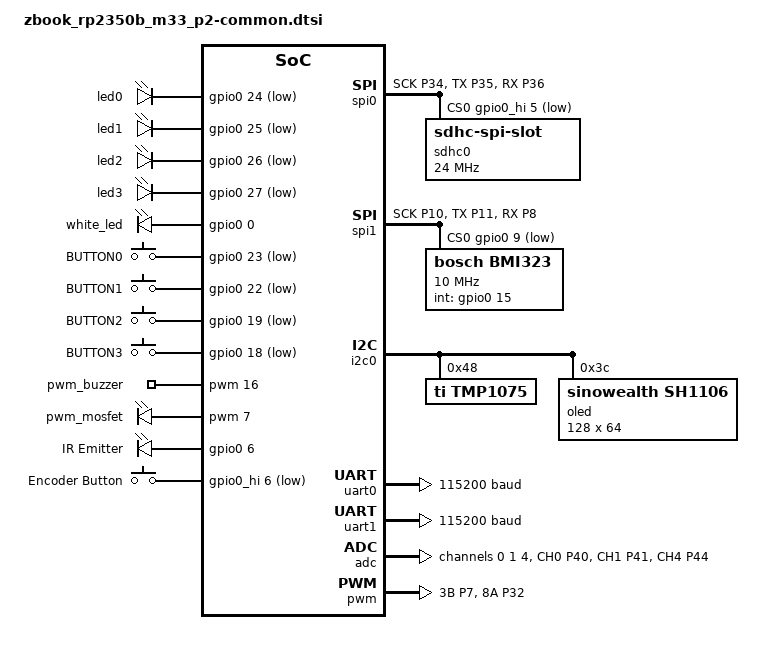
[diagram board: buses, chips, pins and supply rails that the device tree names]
/**
 * @file zbook_rp2350b_m33_p2-common.dtsi
 * @brief Hardware description for the Zbook P2 revision. Applied as a board
 *        revision overlay on top of zbook_rp2350b_m33-common.dtsi (the P1 /
 *        default revision): P2 re-pins almost every peripheral and adds new
 *        ones, so this file deletes the P1 nodes that no longer apply and
 *        redefines them with the pin assignments from the P2 schematic
 *        (zbook-p2-schematics.pdf, revision P2, released 2026-04-22).
 *
 *        Not modelled here: the onboard RP2040 (U3), which acts purely as a
 *        debug probe (SWD + UART bridge) for the RP2350B on the "Prog USB-C"
 *        port, the same way a Pico's separate debug probe would. It is not a
 *        Zephyr build target for this board.
 *
 * @copyright Copyright (c) Centro de Inovação EDGE
 */

#include <zephyr/dt-bindings/led/led.h>
#include <zephyr/dt-bindings/pwm/pwm.h>
#include <zephyr/dt-bindings/pinctrl/rpi-pico-rp2350b-pinctrl.h>
#include <zephyr/dt-bindings/input/input-event-codes.h>

/* P1 peripherals that were re-pinned, replaced, or removed on P2. */
/delete-node/ &blue_led;
/delete-node/ &green_led;
/delete-node/ &yellow_led;
/delete-node/ &red_led;
/delete-node/ &button1;
/delete-node/ &button2;
/delete-node/ &button3;
/delete-node/ &button4;
/delete-node/ &microphone;
/delete-node/ &pico_header;
/delete-node/ &pwm_buzzer;
/delete-node/ &pwm_mosfet;
/delete-node/ &spibb0;
/delete-node/ &pio_ws2812;
/delete-node/ &ir_emitter;
/delete-node/ &int1;
/delete-node/ &int2;
/delete-node/ &display_reset;
/delete-node/ &display_en;
/delete-node/ &ir_receiver;

/* Pin groups that moved. i2c0 (P4/P5) and uart1 (P20/P21) keep P1's pins:
 * uart1 now feeds the onboard Wi-Fi header (H2) instead of the zbook_wifi
 * shield connector, see boards/shields/zbook_wifi/boards/ for the P2
 * reset/enable gpio override.
 */
&pinctrl {
	spi0_default: spi0_default {
		group1 {
			pinmux = <SPI0_SCK_P34>, <SPI0_TX_P35>;
		};
		group2 {
			pinmux = <SPI0_RX_P36>;
			input-enable;
		};
	};

	spi1_default: spi1_default {
		group1 {
			pinmux = <SPI1_SCK_P10>, <SPI1_TX_P11>;
		};
		group2 {
			pinmux = <SPI1_RX_P8>;
			input-enable;
		};
	};

	adc_default: adc_default {
		group1 {
			pinmux = <ADC_CH0_P40>, <ADC_CH1_P41>, <ADC_CH4_P44>;
			input-enable;
		};
	};

	pwm_default: pwm_default {
		group1 {
			pinmux = <PWM_3B_P7>, <PWM_8A_P32>;
		};
	};

	pio1_ws2812_default: pio1_ws2812_default {
		group1 {
			pinmux = <PIO1_P31>;
		};
	};
};

/ {
	aliases {
		led0 = &led0;
		led1 = &led1;
		led2 = &led2;
		led3 = &led3;
		led4 = &white_led;
		button0 = &button0;
		button1 = &button1;
		button2 = &button2;
		button3 = &button3;
		led-strip = &ws2812;
		pwm-buzzer = &pwm_buzzer;
		pwm-mosfet = &pwm_mosfet;

		/* P2-only peripherals. No P1 counterpart, so these aliases
		 * exist purely to keep application code off raw node labels.
		 */
		hall-sensor = &mag_sense;
		temp-alert = &temp_alert;
		accel-int2 = &int2;
		enc-button = &enc_button;
		motor-pwm = &pwm_mosfet;
		led-white = &white_led;
	};

	chosen {
		zephyr,display = &oled;
	};

	/* Direct resistor-to-+3V3 LEDs (no driver transistor): the GPIO sinks
	 * current, so these are active-low, same as P1's LEDs.
	 */
	leds {
		compatible = "gpio-leds";

		led0: led0 {
			gpios = <&gpio0 24 GPIO_ACTIVE_LOW>;
		};

		led1: led1 {
			gpios = <&gpio0 25 GPIO_ACTIVE_LOW>;
		};

		led2: led2 {
			gpios = <&gpio0 26 GPIO_ACTIVE_LOW>;
		};

		led3: led3 {
			gpios = <&gpio0 27 GPIO_ACTIVE_LOW>;
		};

		/* Driven through Q6 (FDN327N) low-side N-MOSFET: active-high. */
		white_led: white {
			gpios = <&gpio0 0 GPIO_ACTIVE_HIGH>;
		};
	};

	buttons {
		compatible = "gpio-keys";

		button0: button0 {
			zephyr,code = <INPUT_BTN_0>;
			label = "BUTTON0";
			gpios = <&gpio0 23 GPIO_ACTIVE_LOW>;
		};

		button1: button1 {
			zephyr,code = <INPUT_BTN_1>;
			label = "BUTTON1";
			gpios = <&gpio0 22 GPIO_ACTIVE_LOW>;
		};

		button2: button2 {
			zephyr,code = <INPUT_BTN_2>;
			label = "BUTTON2";
			gpios = <&gpio0 19 GPIO_ACTIVE_LOW>;
		};

		button3: button3 {
			zephyr,code = <INPUT_BTN_3>;
			label = "BUTTON3";
			gpios = <&gpio0 18 GPIO_ACTIVE_LOW>;
		};
	};

	/* BUZZER_GPIO (piezo, Q7) and MOTOR_EN (DC motor, Q9) are both driven
	 * through low-side N-MOSFETs onto PWM-capable pins.
	 */
	pwm_outputs {
		compatible = "pwm-leds";

		pwm_buzzer: pwm_buzzer_node {
			/* GPIO32 = BUZZER_GPIO -> PWM slice 8, channel A. */
			pwms = <&pwm 16 PWM_USEC(500) PWM_POLARITY_NORMAL>;
		};

		pwm_mosfet: pwm_mosfet_node {
			pwms = <&pwm 7 PWM_MSEC(20) PWM_POLARITY_NORMAL>;
		};
	};
};

&spi0 {
	pinctrl-0 = <&spi0_default>;
	pinctrl-names = "default";
	cs-gpios = <&gpio0_hi 5 GPIO_ACTIVE_LOW>; /* GPIO37 = SD_CS */

	status = "okay";
	sdhc0: sdhc@0 {
		compatible = "zephyr,sdhc-spi-slot";
		reg = <0>;
		status = "okay";
		mmc {
			compatible = "zephyr,sdmmc-disk";
			disk-name = "SD";
			status = "okay";
		};
		spi-max-frequency = <24000000>;
	};
};

&spi1 {
	pinctrl-0 = <&spi1_default>;
	pinctrl-names = "default";

	cs-gpios = <&gpio0 9 GPIO_ACTIVE_LOW>; /* GPIO09 = SPI_ACCEL_CS, BMI323 */

	status = "okay";

	bmi323: bmi323@0 {
		compatible = "bosch,bmi323";
		reg = <0>;
		spi-max-frequency = <10000000>;
		/* INT1 (GPIO15). Mandatory: the driver reads int-gpios with
		 * GPIO_DT_SPEC_INST_GET, which has no _OR fallback.
		 */
		int-gpios = <&gpio0 15 GPIO_ACTIVE_HIGH>;
		status = "okay";
	};
};

&i2c0 {
	tmp1075: tmp1075@48 {
		compatible = "ti,tmp1075";
		reg = <0x48>;
		status = "okay";
	};

	oled: sh1106@3c {
		compatible = "sinowealth,sh1106";
		reg = <0x3c>;
		width = <128>;
		height = <64>;
		segment-offset = <2>;
		page-offset = <0>;
		display-offset = <0>;
		multiplex-ratio = <63>;
		prechargep = <0x22>;
		segment-remap;
		com-invdir;
		status = "okay";
	};
};

&gpio0 {
	status = "okay";

	/delete-node/ actuators;
	/delete-node/ accelerometer;
	/delete-node/ display;

	actuators {
		compatible = "gpio-leds";

		/* Driven through Q8 (FDN327N) low-side N-MOSFET: active-high. */
		ir_emitter: ir_emitter {
			gpios = <&gpio0 6 GPIO_ACTIVE_HIGH>;
			label = "IR Emitter";
		};
	};

	accelerometer {
		compatible = "edge,gpio-inputs";

		int2: int2 {
			gpios = <&gpio0 14 GPIO_ACTIVE_HIGH>;
			label = "Accelerometer INT2";
		};
	};

	sensors {
		compatible = "edge,gpio-inputs";

		/* Not push-pull: needs a pull-up, and there is no external one.
		 * It can only drive the line low, so asserted is low.
		 */
		mag_sense: mag-sense {
			gpios = <&gpio0 3 (GPIO_ACTIVE_LOW | GPIO_PULL_UP)>;
			label = "Hall Sensor";
		};

		/* Open-drain, with an external pull-up already fitted. */
		temp_alert: temp-alert {
			gpios = <&gpio0 2 GPIO_ACTIVE_LOW>;
			label = "Temperature Sensor Alert";
		};
	};
};

&uart0 {
	status = "okay";
	current-speed = <115200>;
	pinctrl-0 = <&uart0_default>;
	pinctrl-names = "default";
};

&uart1 {
	status = "okay";
	current-speed = <115200>;
	pinctrl-0 = <&uart1_default>;
	pinctrl-names = "default";
};

&adc {
	status = "okay";
	#address-cells = <1>;
	#size-cells = <0>;

	pinctrl-0 = <&adc_default>;
	pinctrl-names = "default";

	/delete-node/ channel@0;
	/delete-node/ channel@2;
	/delete-node/ channel@3;

	microphone_adc: channel@0 {
		reg = <0>;
		zephyr,gain = "ADC_GAIN_1";
		zephyr,reference = "ADC_REF_INTERNAL";
		zephyr,acquisition-time = <0>;
		zephyr,resolution = <12>;
	};

	potentiometer: channel@1 {
		reg = <1>;
		zephyr,gain = "ADC_GAIN_1";
		zephyr,reference = "ADC_REF_INTERNAL";
		zephyr,acquisition-time = <0>;
		zephyr,resolution = <12>;
	};

	ldr_adc: channel@4 {
		reg = <4>;
		zephyr,gain = "ADC_GAIN_1";
		zephyr,reference = "ADC_REF_INTERNAL";
		zephyr,acquisition-time = <0>;
		zephyr,resolution = <12>;
	};
};

&pio1 {
	status = "okay";

	/* 4x FZ2812-5050 daisy-chained (P1 only had a 1-LED chain). */
	pio_ws2812: ws2812 {
		compatible = "worldsemi,ws2812-rpi_pico-pio";
		status = "okay";
		pinctrl-0 = <&pio1_ws2812_default>;
		pinctrl-names = "default";
		bit-waveform = <3>, <3>, <4>;

		ws2812: ws2812 {
			status = "okay";
			gpios = <&gpio0 31 GPIO_ACTIVE_HIGH>; /* GPIO31 = LED_ADDR */
			chain-length = <4>;
			color-mapping = <LED_COLOR_ID_GREEN
			LED_COLOR_ID_RED
			LED_COLOR_ID_BLUE>;
			reset-delay = <280>;
			frequency = <800000>;
		};
	};
};

&pwm {
	status = "okay";
	pinctrl-0 = <&pwm_default>;
	pinctrl-names = "default";
	/delete-property/ divider-int-0;

	divider-int-3 = <255>;   /* slice 3 = MOTOR_EN on GPIO7 */
	divider-int-8 = <255>;   /* slice 8 = BUZZER_GPIO on GPIO32 */
};

&gpio0_hi {
	status = "okay";

	/delete-node/ sensors;

	sensors {
		compatible = "edge,gpio-inputs";

		ir_receiver: ir-receiver {
			gpios = <&gpio0_hi 15 GPIO_ACTIVE_HIGH>; /* GPIO47 */
			label = "IR Receiver";
		};

		/* MicroSD card-detect switch, external 10k pull-up to +3V3. */
		sd_cd: sd-cd {
			gpios = <&gpio0_hi 1 GPIO_ACTIVE_LOW>; /* GPIO33 */
			label = "MicroSD Card Detect";
		};
	};

	encoder_qdec: encoder-qdec {
		compatible = "gpio-qdec";
		gpios = <&gpio0_hi 10 GPIO_ACTIVE_LOW>,  /* GPIO42 = ENC_A */
			<&gpio0_hi 11 GPIO_ACTIVE_LOW>;  /* GPIO43 = ENC_B */
		/* PEC12R runs one full quadrature period per detent. */
		steps-per-period = <4>;
		zephyr,axis = <INPUT_REL_WHEEL>;
		sample-time-us = <2000>;
		idle-timeout-ms = <200>;
	};

	encoder {
		compatible = "gpio-keys";

		enc_button: enc-button {
			zephyr,code = <INPUT_KEY_ENTER>;
			gpios = <&gpio0_hi 6 GPIO_ACTIVE_LOW>; /* GPIO38 */
			label = "Encoder Button";
		};
	};
};
